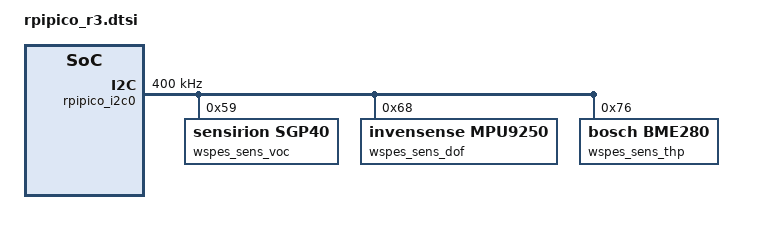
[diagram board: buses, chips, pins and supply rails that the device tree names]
/*
 * Copyright (c) 2024 TiaC Systems
 * SPDX-License-Identifier: Apache-2.0
 */

#include <zephyr/dt-bindings/i2c/i2c.h>

&rpipico_i2c0 {
	status = "okay";
	clock-frequency = <I2C_BITRATE_FAST>;

	wspes_sens_voc: sgp40@59 {
		status = "okay";
		compatible = "sensirion,sgp40";
		reg = <0x59>;
		enable-selftest;
	};

	wspes_sens_dof: mpu9250@68 {
		status = "okay";
		compatible = "invensense,mpu9250";
		reg = <0x68>;
		accel-fs = <2>;
		accel-dlpf = "5.05";
		gyro-fs = <250>;
		gyro-dlpf = <5>;
		gyro-sr-div = <9>;
	};

	wspes_sens_thp: bme280@76 {
		status = "okay";
		compatible = "bosch,bme280";
		reg = <0x76>;
	};
};
